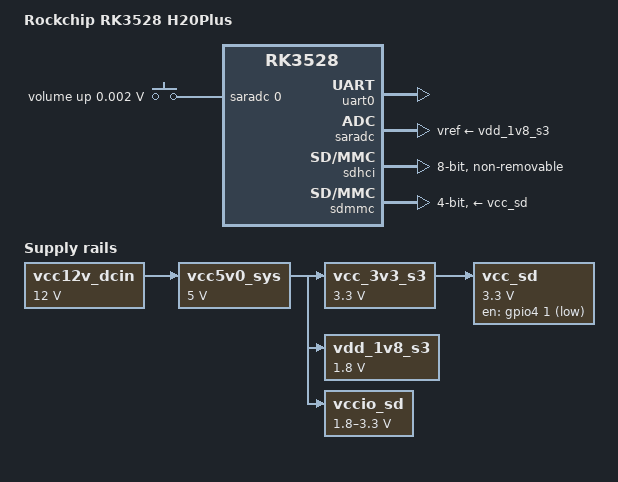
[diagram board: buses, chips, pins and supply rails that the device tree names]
/*
 * SPDX-License-Identifier:     GPL-2.0+
 *
 * Copyright (c) 2026
 */

/dts-v1/;
#include "rk3528.dtsi"
#include "rk3528-u-boot.dtsi"
#include <dt-bindings/input/input.h>

/ {
	model = "Rockchip RK3528 H20Plus";
	compatible = "rockchip,rk3528-h20plus", "rockchip,rk3528";

	aliases {
		mmc0 = &sdmmc;
		mmc1 = &sdhci;
	};

	chosen {
		stdout-path = "serial0:1500000n8";
	};

	vcc12v_dcin: vcc12v-dcin {
		compatible = "regulator-fixed";
		regulator-name = "vcc12v-dcin";
		regulator-always-on;
		regulator-boot-on;
		regulator-min-microvolt = <12000000>;
		regulator-max-microvolt = <12000000>;
		u-boot,dm-spl;
	};

	vcc5v0_sys: vcc5v0-sys {
		compatible = "regulator-fixed";
		regulator-name = "vcc5v0_sys";
		regulator-always-on;
		regulator-boot-on;
		regulator-min-microvolt = <5000000>;
		regulator-max-microvolt = <5000000>;
		vin-supply = <&vcc12v_dcin>;
		u-boot,dm-spl;
	};

	vcc_3v3_s3: vcc-3v3-s3 {
		compatible = "regulator-fixed";
		regulator-name = "vcc_3v3_s3";
		regulator-always-on;
		regulator-boot-on;
		regulator-min-microvolt = <3300000>;
		regulator-max-microvolt = <3300000>;
		vin-supply = <&vcc5v0_sys>;
		u-boot,dm-spl;
	};

	vdd_1v8_s3: vdd-1v8-s3 {
		compatible = "regulator-fixed";
		regulator-name = "vdd_1v8_s3";
		regulator-always-on;
		regulator-boot-on;
		regulator-min-microvolt = <1800000>;
		regulator-max-microvolt = <1800000>;
		vin-supply = <&vcc5v0_sys>;
		u-boot,dm-spl;
	};

	vcc_sd: vcc-sd {
		compatible = "regulator-fixed";
		gpio = <&gpio4 1 1>;
		regulator-name = "vcc_sd";
		regulator-min-microvolt = <3300000>;
		regulator-max-microvolt = <3300000>;
		vin-supply = <&vcc_3v3_s3>;
		u-boot,dm-spl;
	};

	vccio_sd: vccio-sd {
		compatible = "regulator-gpio";
		regulator-name = "vccio_sd";
		regulator-min-microvolt = <1800000>;
		regulator-max-microvolt = <3300000>;
		gpios = <&gpio4 14 0>;
		states = <1800000 0 3300000 1>;
		vin-supply = <&vcc5v0_sys>;
		u-boot,dm-spl;
	};

	adc-keys {
		compatible = "adc-keys";
		io-channels = <&saradc 0>;
		io-channel-names = "buttons";
		keyup-threshold-microvolt = <1800000>;
		poll-interval = <100>;
		u-boot,dm-pre-reloc;
		status = "okay";

		volumeup-key {
			u-boot,dm-pre-reloc;
			linux,code = <KEY_VOLUMEUP>;
			label = "volume up";
			press-threshold-microvolt = <1750>;
		};
	};
};

&uart0 {
	clock-frequency = <24000000>;
	pinctrl-names = "default";
	pinctrl-0 = <&uart0m0_xfer>;
	u-boot,dm-spl;
	status = "okay";
};

&uart2 {
	status = "disabled";
};

&saradc {
	vref-supply = <&vdd_1v8_s3>;
	u-boot,dm-pre-reloc;
	status = "okay";
};

&sdhci {
	bus-width = <8>;
	no-sd;
	no-sdio;
	non-removable;
	pinctrl-names = "default";
	pinctrl-0 = <&emmc_clk &emmc_cmd &emmc_strb &emmc_bus8>;
	/delete-property/ mmc-hs400-1_8v;
	/delete-property/ mmc-hs400-enhanced-strobe;
	/delete-property/ fixed-emmc-driver-type;
	u-boot,dm-spl;
	status = "okay";
};

&sdmmc {
	bus-width = <4>;
	cap-mmc-highspeed;
	cap-sd-highspeed;
	disable-wp;
	supports-sd;
	sd-uhs-sdr12;
	sd-uhs-sdr25;
	sd-uhs-sdr50;
	sd-uhs-sdr104;
	rockchip,default-sample-phase = <90>;
	vmmc-supply = <&vcc_sd>;
	vqmmc-supply = <&vccio_sd>;
	pinctrl-names = "default";
	pinctrl-0 = <&sdmmc_clk &sdmmc_cmd &sdmmc_det &sdmmc_bus4>;
	u-boot,dm-spl;
	status = "okay";
};

&emmc_bus8 {
	u-boot,dm-spl;
};

&emmc_clk {
	u-boot,dm-spl;
};

&emmc_cmd {
	u-boot,dm-spl;
};

&emmc_strb {
	u-boot,dm-spl;
};

&uart0m0_xfer {
	u-boot,dm-spl;
};
